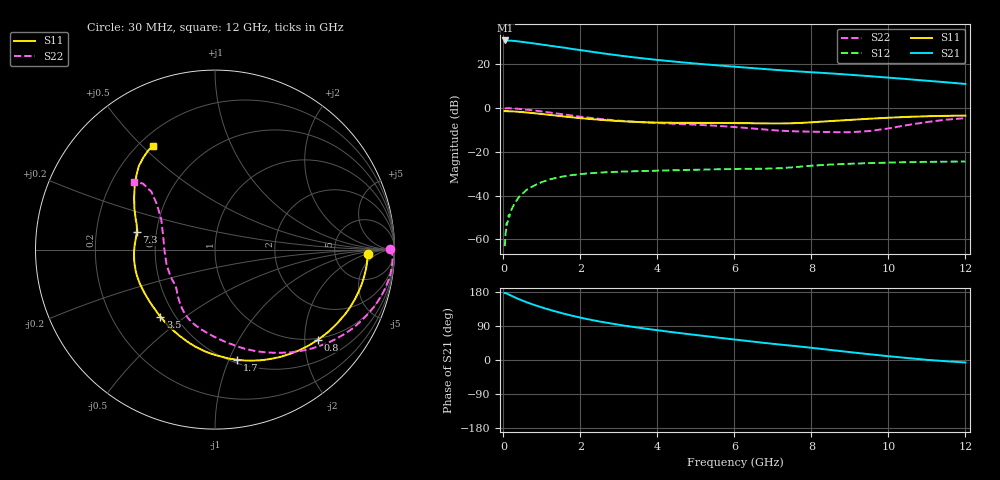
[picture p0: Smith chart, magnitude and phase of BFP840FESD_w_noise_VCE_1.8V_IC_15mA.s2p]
! Infineon Technologies  Discrete & RF Semiconductors
! BFP840FESD
! VCE =  1.8 V,  IC =  15 mA
! Common Emitter S-Parameters:  May 2012
# GHz  S  MA  R  50
!  f  S11  S21  S12  S22
! GHz  MAG  ANG  MAG  ANG  MAG  ANG  MAG  ANG
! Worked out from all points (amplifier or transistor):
!   103 points, 30 MHz to 12 GHz, reference 50 ohm
!   highest |S21| = 30.9 dB at 50 MHz (marker M1)
!   |S21| within 3 dB of that: start of sweep to 1.448 GHz
!   unconditionally stable (mu >= 1): 6.132 GHz to end of sweep
!   at 400 MHz: K = 0.12, MSG = 35.5 dB, |S12| = -40.6 dB
!   at 3.7 GHz: K = 0.65, MSG = 25.7 dB, |S12| = -28.7 dB
!   at 12 GHz: K = 1.12, MAG = 15.7 dB, |S12| = -24.5 dB
!   lowest NFmin = 0.78 dB at 450 MHz
!   S11 on the Smith chart (normalised r, x): 30 MHz: 12, -2; 800 MHz: 0.97, -2.32; 1.7 GHz: 0.53, -1.07; 3.5 GHz: 0.42, -0.41; 7.3 GHz: 0.39, +0.09; 12 GHz: 0.25, +0.54
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0.03  0.8508 -1.6  35.09 176.3  0.0007 66.2  0.9758 0.2
0.04  0.8503 -2.1  35.08 175.9  0.0008 112.2  0.9806 -0.3
0.05  0.8497 -2.7  35.11 177.0  0.0012 90.5  0.9853 -0.8
0.25  0.8393 -13.7  34.37 167.5  0.0057 80.1  0.9815 -10.0
0.4  0.822 -21.6  33.31 160.6  0.0093 77.2  0.9594 -15.9
0.6  0.7941 -31.5  31.61 152.5  0.0135 71.9  0.9226 -23.2
0.8  0.763 -41.1  29.98 145.3  0.017 66.5  0.8814 -30.1
1  0.7314 -50.1  28.25 138.7  0.0204 61.9  0.8374 -36.5
1.2  0.6995 -58.8  26.7 132.6  0.0233 57.3  0.7934 -42.5
1.5  0.6536 -71.1  24.5 124.2  0.0269 51.5  0.7296 -51.0
1.7  0.6254 -78.7  23.08 118.9  0.0287 48.0  0.6894 -56.4
2.1  0.5787 -92.7  20.52 109.6  0.0316 42.2  0.6218 -66.2
2.7  0.5248 -110.2  17.25 98.0  0.0343 36.2  0.5446 -78.5
3.1  0.4993 -120.2  15.54 91.4  0.0355 33.7  0.5088 -85.3
3.5  0.4823 -129.2  14.09 85.4  0.0362 32.1  0.4814 -91.5
4.1  0.4657 -141.4  12.36 77.3  0.0375 30.2  0.452 -99.5
5  0.4591 -157.0  10.41 66.0  0.039 29.0  0.4168 -109.7
6.1  0.453 -173.6  8.692 52.9  0.0407 28.4  0.3639 -121.8
7.3  0.4468 167.3  7.221 39.6  0.043 32.6  0.301 -136.5
8.5  0.5052 152.8  6.199 26.5  0.0513 31.6  0.2827 -162.1
10.5  0.6304 132.3  4.586 5.1  0.0581 25.6  0.41 142.1
12  0.6734 120.9  3.565 -6.5  0.0599 23.5  0.5885 140.0
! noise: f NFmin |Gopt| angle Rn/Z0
0.45  0.78  0.16  5  0.11
0.9  0.8  0.16  11  0.13
1.5  0.81  0.15  19  0.13
1.9  0.82  0.14  28  0.14
2.4  0.82  0.13  40  0.14
3.5  0.84  0.13  65  0.13
5.5  0.89  0.09  134  0.11
8  0.99  0.11  -167  0.12
10  1.1  0.26  -121  0.14
12  1.31  0.42  -106  0.17
